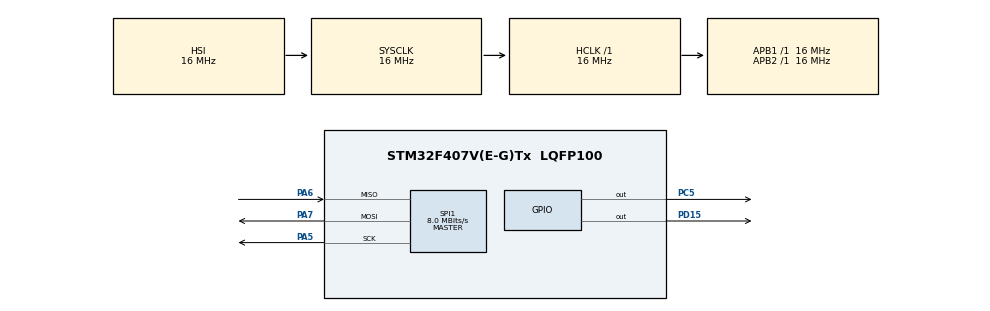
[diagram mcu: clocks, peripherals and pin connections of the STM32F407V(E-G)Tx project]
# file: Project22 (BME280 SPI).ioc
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Mcu.Family=STM32F4
Mcu.Name=STM32F407V(E-G)Tx
Mcu.Package=LQFP100
NVIC.PriorityGroup=NVIC_PRIORITYGROUP_4
NVIC.SPI1_IRQn=true\:0\:0\:false\:false\:true\:true\:true\:true
PA5.Mode=Full_Duplex_Master
PA5.Signal=SPI1_SCK
PA6.Mode=Full_Duplex_Master
PA6.Signal=SPI1_MISO
PA7.Mode=Full_Duplex_Master
PA7.Signal=SPI1_MOSI
PC5.Signal=GPIO_Output
PD15.Signal=GPIO_Output
ProjectManager.HeapSize=0x200
ProjectManager.StackSize=0x400
ProjectManager.TargetToolchain=MDK-ARM V5.32
RCC.AHBFreq_Value=16000000
RCC.APB1Freq_Value=16000000
RCC.APB2Freq_Value=16000000
RCC.CortexFreq_Value=16000000
RCC.HSE_VALUE=25000000
RCC.HSI_VALUE=16000000
RCC.LSE_VALUE=32768
RCC.SYSCLKFreq_VALUE=16000000
RCC.VCOOutputFreq_Value=192000000
SPI1.CalculateBaudRate=8.0 MBits/s
SPI1.Direction=SPI_DIRECTION_2LINES
SPI1.Mode=SPI_MODE_MASTER
SPI1.VirtualType=VM_MASTER
board=custom

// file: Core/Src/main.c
/* USER CODE BEGIN Header */
/**
  ******************************************************************************
  * @file           : main.c
  * @brief          : Main program body
  ******************************************************************************
  * @attention
  *
  * Copyright (c) 2024 STMicroelectronics.
  * All rights reserved.
  *
  * This software is licensed under terms that can be found in the LICENSE file
  * in the root directory of this software component.
  * If no LICENSE file comes with this software, it is provided AS-IS.
  *
  ******************************************************************************
  */
/* USER CODE END Header */
#include "main.h"

/* USER CODE BEGIN PD */
#define	BME280_CHIPID_REG 0xD0
#define	BME280_REG_CTRL_HJM 0xF2
#define	BME280_REG CTRL_MEAS 0xF4
#define	BME280_REG_CONFIG 0xF5
#define	BME280_REG_RESET 0xE0
/* USER CODE END PD */

SPI_HandleTypeDef hspi1;

void SystemClock_Config(void);
static void MX_GPIO_Init(void);
static void MX_SPI1_Init(void);

int main(void)
{

  /* MCU Configuration--------------------------------------------------------*/

  /* Reset of all peripherals, Initializes the Flash interface and the Systick. */
  HAL_Init();

  /* Configure the system clock */
  SystemClock_Config();

  /* Initialize all configured peripherals */
  MX_GPIO_Init();
  MX_SPI1_Init();
  /* USER CODE BEGIN 2 */

	uint8_t receive_data[18];
	uint8_t transmit_data = 0x00;

	HAL_GPIO_WritePin(GPIOC, GPIO_PIN_5, GPIO_PIN_RESET);
	HAL_SPI_TransmitReceive(&hspi1, (uint8_t*)BME280_CHIPID_REG, receive_data, 18, 1000);
	HAL_GPIO_WritePin(GPIOC, GPIO_PIN_5, GPIO_PIN_SET);
	HAL_Delay(1000);

	HAL_GPIO_WritePin(GPIOC, GPIO_PIN_5, GPIO_PIN_RESET);
	HAL_SPI_Transmit(&hspi1, (uint8_t*)0x04, 1, 1000);
	HAL_GPIO_WritePin(GPIOC, GPIO_PIN_5, GPIO_PIN_SET);
	HAL_Delay(1000);

  /* USER CODE END 2 */

  /* Infinite loop */
  while (1)
  {

  }
}

void SystemClock_Config(void)
{
  RCC_OscInitTypeDef RCC_OscInitStruct = {0};
  RCC_ClkInitTypeDef RCC_ClkInitStruct = {0};

  /** Configure the main internal regulator output voltage
  */
  __HAL_RCC_PWR_CLK_ENABLE();
  __HAL_PWR_VOLTAGESCALING_CONFIG(PWR_REGULATOR_VOLTAGE_SCALE1);

  /** Initializes the RCC Oscillators according to the specified parameters
  * in the RCC_OscInitTypeDef structure.
  */
  RCC_OscInitStruct.OscillatorType = RCC_OSCILLATORTYPE_HSI;
  RCC_OscInitStruct.HSIState = RCC_HSI_ON;
  RCC_OscInitStruct.HSICalibrationValue = RCC_HSICALIBRATION_DEFAULT;
  RCC_OscInitStruct.PLL.PLLState = RCC_PLL_NONE;
  if (HAL_RCC_OscConfig(&RCC_OscInitStruct) != HAL_OK)
  {
    Error_Handler();
  }

  /** Initializes the CPU, AHB and APB buses clocks
  */
  RCC_ClkInitStruct.ClockType = RCC_CLOCKTYPE_HCLK|RCC_CLOCKTYPE_SYSCLK
                              |RCC_CLOCKTYPE_PCLK1|RCC_CLOCKTYPE_PCLK2;
  RCC_ClkInitStruct.SYSCLKSource = RCC_SYSCLKSOURCE_HSI;
  RCC_ClkInitStruct.AHBCLKDivider = RCC_SYSCLK_DIV1;
  RCC_ClkInitStruct.APB1CLKDivider = RCC_HCLK_DIV1;
  RCC_ClkInitStruct.APB2CLKDivider = RCC_HCLK_DIV1;

  if (HAL_RCC_ClockConfig(&RCC_ClkInitStruct, FLASH_LATENCY_0) != HAL_OK)
  {
    Error_Handler();
  }
}

static void MX_SPI1_Init(void)
{

  /* SPI1 parameter configuration*/
  hspi1.Instance = SPI1;
  hspi1.Init.Mode = SPI_MODE_MASTER;
  hspi1.Init.Direction = SPI_DIRECTION_2LINES;
  hspi1.Init.DataSize = SPI_DATASIZE_8BIT;
  hspi1.Init.CLKPolarity = SPI_POLARITY_LOW;
  hspi1.Init.CLKPhase = SPI_PHASE_1EDGE;
  hspi1.Init.NSS = SPI_NSS_SOFT;
  hspi1.Init.BaudRatePrescaler = SPI_BAUDRATEPRESCALER_2;
  hspi1.Init.FirstBit = SPI_FIRSTBIT_MSB;
  hspi1.Init.TIMode = SPI_TIMODE_DISABLE;
  hspi1.Init.CRCCalculation = SPI_CRCCALCULATION_DISABLE;
  hspi1.Init.CRCPolynomial = 10;
  if (HAL_SPI_Init(&hspi1) != HAL_OK)
  {
    Error_Handler();
  }

}

static void MX_GPIO_Init(void)
{
  GPIO_InitTypeDef GPIO_InitStruct = {0};

  /* GPIO Ports Clock Enable */
  __HAL_RCC_GPIOA_CLK_ENABLE();
  __HAL_RCC_GPIOC_CLK_ENABLE();
  __HAL_RCC_GPIOD_CLK_ENABLE();

  /*Configure GPIO pin Output Level */
  HAL_GPIO_WritePin(GPIOC, GPIO_PIN_5, GPIO_PIN_SET);

  /*Configure GPIO pin Output Level */
  HAL_GPIO_WritePin(GPIOD, GPIO_PIN_15, GPIO_PIN_RESET);

  /*Configure GPIO pin : PC5 */
  GPIO_InitStruct.Pin = GPIO_PIN_5;
  GPIO_InitStruct.Mode = GPIO_MODE_OUTPUT_PP;
  GPIO_InitStruct.Pull = GPIO_NOPULL;
  GPIO_InitStruct.Speed = GPIO_SPEED_FREQ_LOW;
  HAL_GPIO_Init(GPIOC, &GPIO_InitStruct);

  /*Configure GPIO pin : PD15 */
  GPIO_InitStruct.Pin = GPIO_PIN_15;
  GPIO_InitStruct.Mode = GPIO_MODE_OUTPUT_PP;
  GPIO_InitStruct.Pull = GPIO_NOPULL;
  GPIO_InitStruct.Speed = GPIO_SPEED_FREQ_LOW;
  HAL_GPIO_Init(GPIOD, &GPIO_InitStruct);

}

void Error_Handler(void)
{
  __disable_irq();
  while (1)
  {
  }
}
